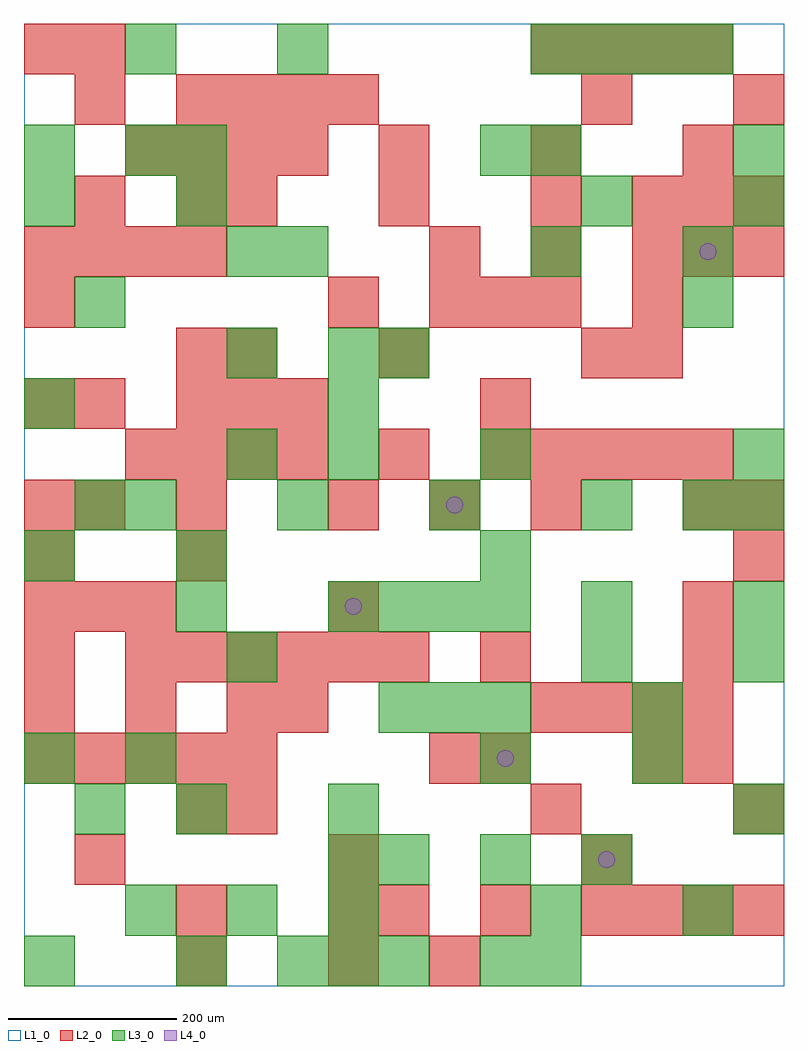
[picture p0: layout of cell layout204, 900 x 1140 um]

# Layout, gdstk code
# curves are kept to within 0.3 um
import gdstk
lib = gdstk.Library(unit=1e-6, precision=1e-09)
def R(c, l, rs):  # rectangles x0, y0, x1, y1
    for r in rs: c.add(gdstk.rectangle(r[:2], r[2:], *l))
def A(c, l, x, y, w, h, nx, ny, dx, dy):  # array of equal rectangles
    R(c, l, [(x+i*dx, y+j*dy, x+i*dx+w, y+j*dy+h) for i in range(nx) for j in range(ny)])
def P(c, l, *ps):  # polygons
    for p in ps: c.add(gdstk.Polygon(p, *l))
L1_0 = (1, 0)
L2_0 = (2, 0)
L3_0 = (3, 0)
L4_0 = (4, 0)

layout204 = lib.new_cell('layout204')
R(layout204, L1_0, [(0,0,900,1140)])
A(layout204, L2_0, 360, 60, 60, 60, 1, 3, 0, 360)
A(layout204, L2_0, 420, 60, 60, 60, 3, 1, 120, 0)
A(layout204, L2_0, 720, 60, 60, 60, 3, 2, 60, 840)
A(layout204, L2_0, 60, 120, 60, 60, 3, 1, 300, 0)
A(layout204, L2_0, 0, 240, 60, 60, 5, 1, 60, 0)
A(layout204, L2_0, 0, 300, 60, 60, 3, 1, 120, 0)
A(layout204, L2_0, 600, 300, 60, 60, 4, 2, 60, 780)
A(layout204, L2_0, 120, 360, 60, 60, 6, 1, 60, 0)
A(layout204, L2_0, 0, 420, 60, 60, 3, 1, 60, 0)
A(layout204, L2_0, 0, 540, 60, 60, 1, 3, 0, 120)
A(layout204, L2_0, 180, 540, 60, 60, 1, 3, 0, 180)
A(layout204, L2_0, 360, 540, 60, 60, 3, 1, 120, 0)
A(layout204, L2_0, 120, 600, 60, 60, 4, 2, 60, 360)
A(layout204, L2_0, 540, 600, 60, 60, 5, 1, 60, 0)
A(layout204, L2_0, 180, 660, 60, 60, 3, 1, 60, 0)
A(layout204, L2_0, 480, 780, 60, 60, 3, 1, 60, 0)
A(layout204, L2_0, 0, 840, 60, 60, 4, 1, 60, 0)
A(layout204, L2_0, 480, 840, 60, 60, 3, 1, 120, 0)
A(layout204, L2_0, 240, 900, 60, 60, 3, 1, 180, 0)
A(layout204, L2_0, 420, 960, 60, 60, 3, 1, 180, 0)
A(layout204, L2_0, 180, 1020, 60, 60, 4, 1, 60, 0)
R(layout204, L2_0, [(180,0,240,60), (360,0,420,60), (480,0,540,60), (180,60,240,120), (180,180,240,240), (240,180,300,240), (600,180,660,240), (840,180,900,240), (480,240,540,300), (540,240,600,300), (720,240,780,300), (780,240,840,300), (300,300,360,360), (0,360,60,420), (540,360,600,420), (780,360,840,420), (780,420,840,480), (0,480,60,540), (180,480,240,540), (840,480,900,540), (60,540,120,600), (780,540,840,600), (840,540,900,600), (420,600,480,660), (60,660,120,720), (540,660,600,720), (240,720,300,780), (420,720,480,780), (660,720,720,780), (720,720,780,780), (720,780,780,840), (780,840,840,900), (840,840,900,900), (60,900,120,960), (60,1020,120,1080), (660,1020,720,1080), (840,1020,900,1080), (0,1080,60,1140), (60,1080,120,1140)])
A(layout204, L3_0, 0, 0, 60, 60, 1, 3, 0, 240)
A(layout204, L3_0, 300, 0, 60, 60, 3, 1, 60, 0)
A(layout204, L3_0, 540, 0, 60, 60, 1, 3, 0, 240)
A(layout204, L3_0, 120, 60, 60, 60, 3, 1, 120, 0)
A(layout204, L3_0, 420, 120, 60, 60, 3, 1, 120, 0)
A(layout204, L3_0, 420, 300, 60, 60, 3, 1, 60, 0)
A(layout204, L3_0, 360, 420, 60, 60, 4, 1, 60, 0)
A(layout204, L3_0, 120, 540, 60, 60, 4, 1, 180, 0)
A(layout204, L3_0, 240, 600, 60, 60, 1, 3, 0, 120)
A(layout204, L3_0, 360, 600, 60, 60, 1, 3, 0, 60)
A(layout204, L3_0, 600, 1080, 60, 60, 4, 1, 60, 0)
R(layout204, L3_0, [(180,0,240,60), (600,0,660,60), (600,60,660,120), (780,60,840,120), (360,120,420,180), (60,180,120,240), (180,180,240,240), (360,180,420,240), (840,180,900,240), (120,240,180,300), (720,240,780,300), (720,300,780,360), (240,360,300,420), (660,360,720,420), (840,360,900,420), (180,420,240,480), (660,420,720,480), (840,420,900,480), (180,480,240,540), (60,540,120,600), (780,540,840,600), (840,540,900,600), (540,600,600,660), (840,600,900,660), (0,660,60,720), (420,720,480,780), (60,780,120,840), (780,780,840,840), (300,840,360,900), (600,840,660,900), (780,840,840,900), (0,900,60,960), (180,900,240,960), (660,900,720,960), (840,900,900,960), (0,960,60,1020), (120,960,180,1020), (180,960,240,1020), (540,960,600,1020), (600,960,660,1020), (840,960,900,1020), (120,1080,180,1140), (300,1080,360,1140)])
P(layout204, L4_0, [(400,450),(399.239,453.827),(397.071,457.071),(393.827,459.239),(390,460),(386.173,459.239),(382.929,457.071),(380.761,453.827),(380,450),(380.761,446.173),(382.929,442.929),(386.173,440.761),(390,440),(393.827,440.761),(397.071,442.929),(399.239,446.173)],
  [(520,570),(519.239,573.827),(517.071,577.071),(513.827,579.239),(510,580),(506.173,579.239),(502.929,577.071),(500.761,573.827),(500,570),(500.761,566.173),(502.929,562.929),(506.173,560.761),(510,560),(513.827,560.761),(517.071,562.929),(519.239,566.173)],
  [(580,270),(579.239,273.827),(577.071,277.071),(573.827,279.239),(570,280),(566.173,279.239),(562.929,277.071),(560.761,273.827),(560,270),(560.761,266.173),(562.929,262.929),(566.173,260.761),(570,260),(573.827,260.761),(577.071,262.929),(579.239,266.173)],
  [(700,150),(699.239,153.827),(697.071,157.071),(693.827,159.239),(690,160),(686.173,159.239),(682.929,157.071),(680.761,153.827),(680,150),(680.761,146.173),(682.929,142.929),(686.173,140.761),(690,140),(693.827,140.761),(697.071,142.929),(699.239,146.173)],
  [(820,870),(819.239,873.827),(817.071,877.071),(813.827,879.239),(810,880),(806.173,879.239),(802.929,877.071),(800.761,873.827),(800,870),(800.761,866.173),(802.929,862.929),(806.173,860.761),(810,860),(813.827,860.761),(817.071,862.929),(819.239,866.173)])

lib.write_gds('layout204.gds')
